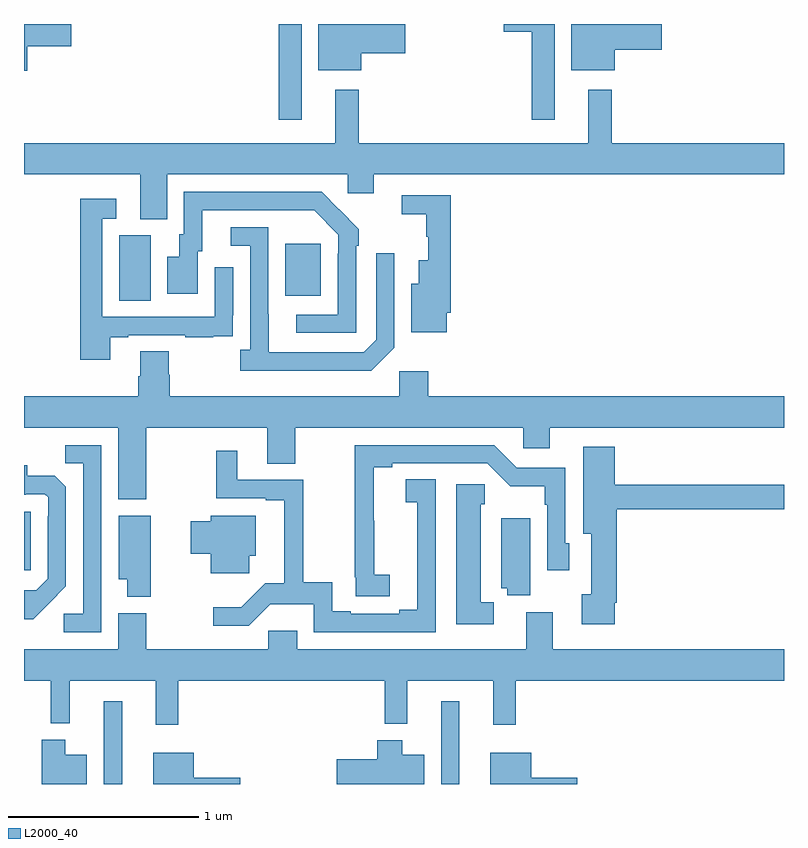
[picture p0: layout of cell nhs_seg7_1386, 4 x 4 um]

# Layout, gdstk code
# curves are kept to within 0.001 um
import gdstk
lib = gdstk.Library(unit=1e-6, precision=1e-09)
def R(c, l, rs):  # rectangles x0, y0, x1, y1
    for r in rs: c.add(gdstk.rectangle(r[:2], r[2:], *l))
def P(c, l, *ps):  # polygons
    for p in ps: c.add(gdstk.Polygon(p, *l))
L2000_40 = (2000, 40)

nhs_seg7_1386 = lib.new_cell('nhs_seg7_1386')
R(nhs_seg7_1386, L2000_40, [(205.419,1072,205.516,1072.435), (207.195,1072,207.292,1072.435), (205,1073.124,205.035,1073.433), (205.502,1074.544,205.666,1074.888), (206.375,1074.569,206.563,1074.844), (206.34,1075.497,206.461,1076)])
P(nhs_seg7_1386, L2000_40, [(208.108,1075.864),(208.357,1075.864),(208.357,1076),(207.881,1076),(207.881,1075.757),(208.108,1075.757)],
  [(207.793,1076),(207.524,1076),(207.524,1075.958),(207.672,1075.958),(207.672,1075.497),(207.793,1075.497)],
  [(206.776,1075.846),(207.007,1075.846),(207.007,1076),(206.549,1076),(206.549,1075.757),(206.776,1075.757)],
  [(205.016,1075.883),(205.249,1075.883),(205.249,1076),(205,1076),(205,1075.755),(205.016,1075.755)],
  [(205.753,1075.208),(206.703,1075.208),(206.703,1075.11),(206.842,1075.11),(206.842,1075.208),(209,1075.208),(209,1075.372),(208.093,1075.372),(208.093,1075.654),(207.971,1075.654),(207.971,1075.372),(206.761,1075.372),(206.761,1075.654),(206.639,1075.654),(206.639,1075.372),(205,1075.372),(205,1075.208),(205.613,1075.208),(205.613,1074.973),(205.753,1074.973)],
  [(206.748,1074.833),(206.763,1074.833),(206.763,1074.921),(206.566,1075.116),(205.842,1075.116),(205.842,1074.894),(205.817,1074.894),(205.817,1074.775),(205.754,1074.775),(205.754,1074.579),(205.915,1074.579),(205.915,1074.804),(205.939,1074.804),(205.939,1075.02),(206.527,1075.02),(206.655,1074.891),(206.655,1074.791),(206.652,1074.791),(206.652,1074.471),(206.433,1074.471),(206.433,1074.375),(206.748,1074.375)],
  [(207.226,1074.481),(207.245,1074.481),(207.245,1075.098),(206.988,1075.098),(206.988,1075),(207.117,1075),(207.117,1074.879),(207.128,1074.879),(207.128,1074.757),(207.077,1074.757),(207.077,1074.634),(207.038,1074.634),(207.038,1074.377),(207.226,1074.377)],
  [(205.453,1074.351),(205.549,1074.351),(205.549,1074.363),(205.849,1074.363),(205.849,1074.351),(205.997,1074.351),(205.997,1074.357),(206.099,1074.357),(206.099,1074.466),(206.1,1074.466),(206.1,1074.721),(206.004,1074.721),(206.004,1074.459),(205.413,1074.459),(205.413,1074.975),(205.486,1074.975),(205.486,1075.081),(205.297,1075.081),(205.297,1074.234),(205.453,1074.234)],
  [(206.949,1074.297),(206.949,1074.793),(206.853,1074.793),(206.853,1074.339),(206.787,1074.273),(206.287,1074.273),(206.286,1074.93),(206.088,1074.93),(206.088,1074.834),(206.19,1074.834),(206.19,1074.286),(206.139,1074.286),(206.139,1074.176),(206.828,1074.176)],
  [(205.644,1073.876),(206.279,1073.876),(206.279,1073.686),(206.427,1073.686),(206.427,1073.876),(207.627,1073.876),(207.627,1073.766),(207.766,1073.766),(207.766,1073.876),(209,1073.876),(209,1074.04),(207.128,1074.04),(207.128,1074.172),(206.976,1074.172),(206.976,1074.04),(205.766,1074.04),(205.766,1074.153),(205.761,1074.153),(205.761,1074.278),(205.613,1074.278),(205.613,1074.146),(205.601,1074.146),(205.601,1074.04),(205,1074.04),(205,1073.876),(205.496,1073.876),(205.496,1073.498),(205.644,1073.498)],
  [(205.407,1073.784),(205.216,1073.784),(205.216,1073.689),(205.311,1073.689),(205.311,1072.896),(205.209,1072.896),(205.209,1072.8),(205.407,1072.8)],
  [(206.926,1073.102),(206.844,1073.102),(206.842,1073.668),(206.938,1073.668),(206.938,1073.688),(207.438,1073.688),(207.559,1073.567),(207.741,1073.567),(207.741,1073.471),(207.753,1073.471),(207.753,1073.124),(207.87,1073.124),(207.87,1073.268),(207.849,1073.268),(207.849,1073.664),(207.594,1073.664),(207.474,1073.784),(206.74,1073.784),(206.74,1073.089),(206.746,1073.089),(206.746,1072.987),(206.926,1072.987)],
  [(208.108,1072.954),(208.121,1072.954),(208.121,1073.446),(209,1073.446),(209,1073.575),(208.108,1073.575),(208.108,1073.776),(207.944,1073.776),(207.944,1073.318),(207.986,1073.318),(207.986,1072.998),(207.936,1072.998),(207.936,1072.842),(208.108,1072.842)],
  [(207.168,1073.603),(207.009,1073.603),(207.009,1073.483),(207.07,1073.483),(207.071,1072.916),(206.975,1072.916),(206.975,1072.896),(206.719,1072.896),(206.719,1072.91),(206.622,1072.91),(206.622,1073.063),(206.471,1073.063),(206.471,1073.601),(206.122,1073.601),(206.122,1073.755),(206.013,1073.755),(206.013,1073.505),(206.273,1073.505),(206.273,1073.493),(206.369,1073.493),(206.369,1073.056),(206.269,1073.056),(206.143,1072.93),(205.995,1072.93),(205.995,1072.833),(206.184,1072.833),(206.297,1072.946),(206.526,1072.946),(206.526,1072.8),(207.168,1072.8)],
  [(205.129,1072.949),(205.221,1073.042),(205.221,1073.564),(205.162,1073.623),(205.018,1073.623),(205.018,1073.677),(205,1073.677),(205,1073.522),(205.01,1073.522),(205.01,1073.526),(205.11,1073.526),(205.128,1073.508),(205.128,1073.408),(205.125,1073.408),(205.125,1073.079),(205.065,1073.019),(205,1073.019),(205,1072.868),(205.049,1072.868)],
  [(207.472,1072.956),(207.403,1072.956),(207.403,1073.472),(207.425,1073.472),(207.425,1073.578),(207.275,1073.578),(207.275,1072.841),(207.472,1072.841)],
  [(206.185,1073.201),(206.221,1073.201),(206.221,1073.413),(205.982,1073.413),(205.982,1073.384),(205.877,1073.384),(205.877,1073.213),(205.982,1073.213),(205.982,1073.108),(206.185,1073.108)],
  [(205.666,1073.413),(205.499,1073.413),(205.499,1073.078),(205.544,1073.078),(205.544,1072.985),(205.666,1072.985)],
  [(207.664,1073.398),(207.512,1073.398),(207.512,1073.03),(207.544,1073.03),(207.544,1072.993),(207.664,1072.993)],
  [(205.811,1072.544),(206.899,1072.544),(206.899,1072.316),(207.017,1072.316),(207.017,1072.544),(207.47,1072.544),(207.47,1072.311),(207.587,1072.311),(207.587,1072.544),(209,1072.544),(209,1072.708),(207.784,1072.708),(207.784,1072.903),(207.644,1072.903),(207.644,1072.708),(206.437,1072.708),(206.437,1072.806),(206.286,1072.806),(206.286,1072.708),(205.644,1072.708),(205.644,1072.9),(205.496,1072.9),(205.496,1072.708),(205,1072.708),(205,1072.544),(205.142,1072.544),(205.142,1072.319),(205.241,1072.319),(205.241,1072.544),(205.694,1072.544),(205.694,1072.311),(205.811,1072.311)],
  [(205.33,1072.153),(205.216,1072.153),(205.216,1072.234),(205.094,1072.234),(205.094,1072),(205.33,1072)],
  [(207.106,1072.153),(206.992,1072.153),(206.992,1072.231),(206.858,1072.231),(206.858,1072.131),(206.646,1072.131),(206.646,1072),(207.106,1072)],
  [(207.913,1072.034),(207.67,1072.034),(207.67,1072.165),(207.455,1072.165),(207.455,1072),(207.913,1072)],
  [(206.137,1072.034),(205.894,1072.034),(205.894,1072.165),(205.679,1072.165),(205.679,1072),(206.137,1072)])

lib.write_gds('nhs_seg7_1386.gds')
